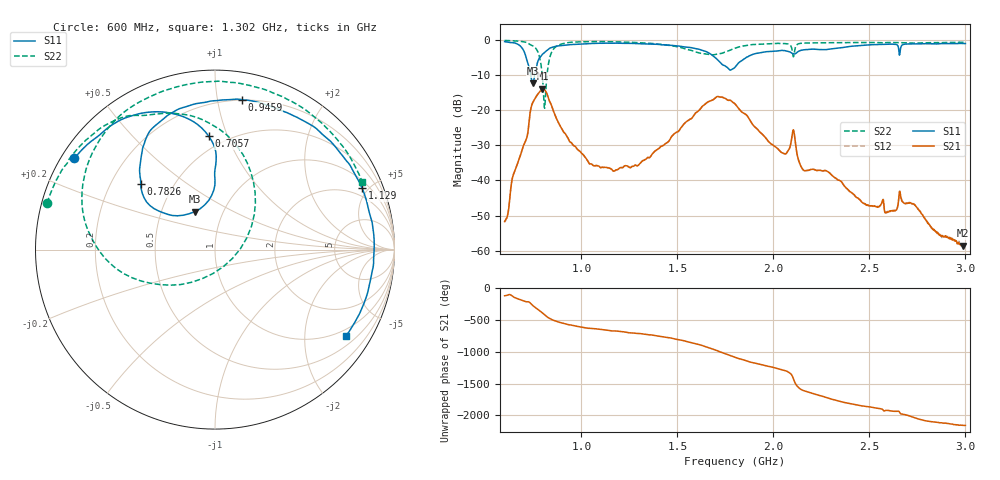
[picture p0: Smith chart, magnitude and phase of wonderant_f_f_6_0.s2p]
#  HZ  S  RI  R  50.00
! Rohde & Schwarz ZVB8 2Ports - Version 2.81 - 1145.1010k08 SN: 100113
! Date: 2016-05-17 22:37:43
! Measurements: S11 S21 S12 S22
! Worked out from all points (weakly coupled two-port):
!   1000 points, 600 MHz to 3 GHz, reference 50 ohm
!   highest |S21| = -13.99 dB at 797 MHz (marker M1); lowest = -58.6 dB at 2.986 GHz (marker M2)
!   lowest |S11| = -12.4 dB at 746.5 MHz (marker M3), VSWR 1.63, Z = 36.7 + j16.4 ohm
!   |S11| at or under -10 dB: 735.7 MHz to 757.4 MHz (21.67 MHz wide, 2.9 % of centre)
!   |S22| runs from -19.5 to -0.3 dB; largest |S21 - S12| = 0.0024
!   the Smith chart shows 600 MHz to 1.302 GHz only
!   S11 on the Smith chart (normalised r, x): 600 MHz: 0.04, +0.30; 705.7 MHz: 0.41, +0.86; 782.6 MHz: 0.33, +0.34; 945.9 MHz: 0.20, +1.17; 1.129 GHz: 1.42, +4.58; 1.302 GHz: 0.78, -3.17
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6e8  -0.7838 0.5083  -0.00134 -0.00223  -0.00129 -0.00233  -0.9361 0.2586
7.057057e8  -0.0351 0.6324  -0.03 0.0169  -0.03 0.0171  -0.6038 0.6972
7.465465e8  -0.1141 0.2104  0.0078 0.1274  0.00687 0.1274  -0.2956 0.7584
7.825826e8  -0.4134 0.3641  0.1812 0.0106  0.1813 0.0112  0.1552 0.5306
7.96997e8  -0.4197 0.453  0.1701 -0.1048  0.1714 -0.1028  0.2192 0.1967
8.21021e8  -0.3982 0.5792  -0.0044 -0.1685  -0.00393 -0.1687  -0.2472 -0.1982
8.546547e8  -0.2803 0.7345  -0.0798 -0.053  -0.0796 -0.0529  -0.7194 0.139
9.459459e8  0.1479 0.8359  -0.0262 0.0226  -0.0262 0.0225  -0.522 0.7535
1.001201e9  0.3993 0.7638  -0.0065 0.0233  -0.00661 0.0233  -0.2897 0.8831
1.128529e9  0.8199 0.3414  0.0075 0.0133  0.00744 0.0133  0.256 0.8983
1.301502e9  0.7298 -0.4795  0.0168 0.00192  0.0168 0.00209  0.8213 0.3749
1.4e9  0.3493 -0.7806  0.0233 -0.0156  0.0233 -0.0156  0.8546 -0.1131
1.616216e9  -0.5856 -0.4223  -0.0996 -0.0175  -0.0996 -0.0178  0.1334 -0.6279
1.801201e9  -0.4063 -0.0323  0.1198 -0.019  0.1198 -0.0184  -0.3763 -0.6567
1.902102e9  -0.5354 0.3263  -0.00699 -0.0575  -0.00663 -0.0574  -0.776 -0.358
2.027027e9  0.0234 0.6941  -0.0271 0.00375  -0.0272 0.00366  -0.8523 0.2283
2.103904e9  0.4047 0.4798  0.0494 0.0168  0.0494 0.0173  -0.4577 0.3387
2.2e9  0.7278 0.0784  -0.0122 0.0075  -0.0123 0.00754  -0.4875 0.7524
2.406607e9  0.2211 -0.7721  0.00635 -0.00209  0.00641 -0.00206  0.2891 0.858
2.601201e9  -0.6002 -0.6186  -0.00197 -0.00297  -0.00196 -0.00308  0.8148 0.4009
2.985586e9  -0.683 0.5532  0.00118 7.71e-05  0.00116 7.22e-05  0.5662 -0.7162
3e9  -0.6529 0.5871  0.00125 6.83e-05  0.00125 9.61e-05  0.5373 -0.7392
